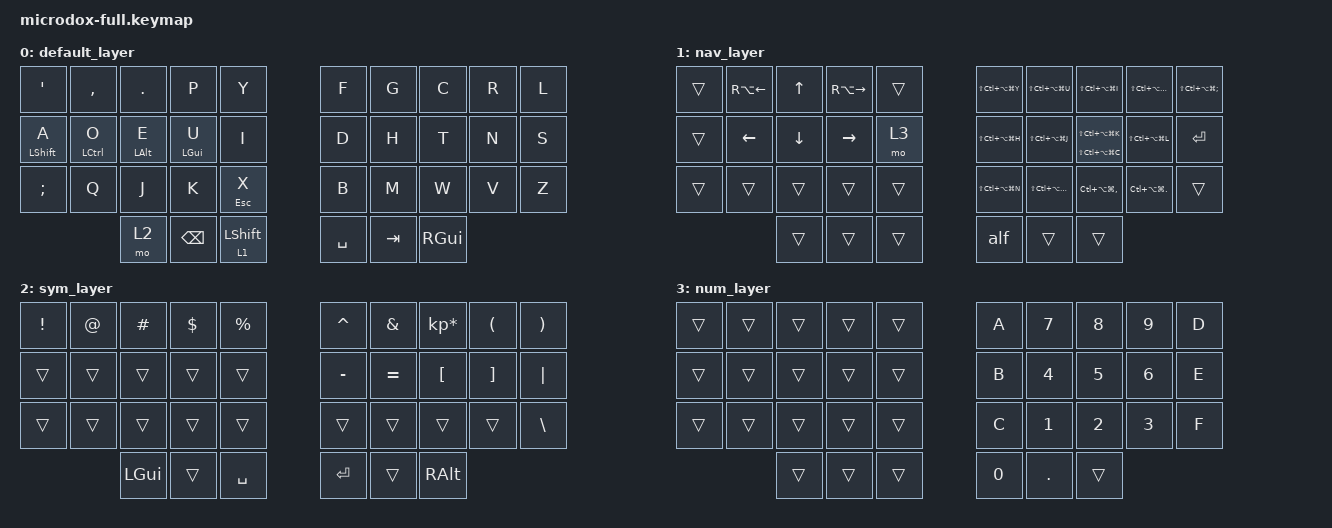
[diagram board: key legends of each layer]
/*
 * Copyright (c) 2020 The ZMK Contributors
 *
 * SPDX-License-Identifier: MIT
 */

#include <behaviors.dtsi>
#include <dt-bindings/zmk/keys.h>
#include <dt-bindings/zmk/bt.h>

&mt {
    tapping-term-ms = <200>;
};

/ {
    behaviors {
        bhm: balanced_homerow_mods {
            compatible = "zmk,behavior-hold-tap";
            label = "HOMEROW_MODS";
            #binding-cells = <2>;
            tapping-term-ms = <200>;    // <---[[moderate duration]]
            quick-tap-ms = <0>;
            flavor = "hold-preferred";
            bindings = <&kp>, <&kp>;
        };

        phr: positional_hold_right {
            compatible = "zmk,behavior-hold-tap";
            label = "POSITIONAL_HOLD_RIGHT";
            #binding-cells = <2>;
            flavor = "balanced";
            tapping-term-ms = <150>;
            quick-tap-ms = <120>;
            bindings = <&kp>, <&kp>;
            hold-trigger-key-positions = <10>, <11>, <12>, <13>, <14>;    // <---[[the W key]]
        };

        phl: positional_hold_left {
            compatible = "zmk,behavior-hold-tap";
            label = "POSITIONAL_HOLD_LEFT";
            #binding-cells = <2>;
            flavor = "balanced";
            tapping-term-ms = <150>;
            quick-tap-ms = <120>;
            bindings = <&kp>, <&kp>;
            hold-trigger-key-positions = <15>, <16>, <17>, <18>, <19>;    // <---[[the W key]]
        };
        
    };

    macros {

        alf: alf {
            label = "alf";
            compatible = "zmk,behavior-macro";
            #binding-cells = <0>;
            bindings
                = <&macro_press &kp LGUI>
                , <&macro_tap &kp SPACE>
                , <&macro_release &kp LGUI>
                ;
        };

        lst: layer_sticky_tap {
            compatible = "zmk,behavior-hold-tap";
            label = "LAYER_STICKY_TAP";
            #binding-cells = <2>;
            tapping-term-ms = <175>;
            quick_tap_ms = <0>;
            flavor = "tap-preferred";
            bindings = <&mo>, <&sk>;
        };

        ght: generic_hold-tap {
            compatible = "zmk,behavior-hold-tap";
            label = "GENERIC_HOLD_TAP";
            #binding-cells = <2>;
            tapping-term-ms = <120>;
            quick_tap_ms = <0>;
            flavor = "tap-preferred";
            bindings = <&kp>, <&kp>;
        };

    };

        keymap {
                compatible = "zmk,keymap";
                default_layer {
// 0-----------------------------------------------------------------------------------------
// |  '  |  ,  |  .  |  p  |  y   |          |  f  |  g   |  c  |  r  |  l  |
// |  a  |  o  |  e  |  u  |  i   |          |  d  |  h   |  t  |  n  |  s  |
// |  ;  |  q  |  j  |  k  |  x   |          |  b  |  m   |  w  |  v  |  z  |
//             | GUI | NAV | SHFT |          | SPC | SYM  | ALT |

//    &phl LSHFT A &phl LCTRL O    &phl LALT E     &phl LGUI U     &kp I        &kp D   &phr RGUI H     &phr RALT T     &phr RCTRL N    &phr RSHFT S

                        bindings = <
   &kp SQT      &kp COMMA       &kp DOT         &kp P           &kp Y        &kp F   &kp G           &kp C           &kp R           &kp L
   &phl LSHFT A &phl LCTRL O    &phl LALT E     &phl LGUI U     &kp I        &kp D   &kp H     &kp T     &kp N    &kp S
   &kp SEMI     &kp Q           &kp J           &kp K           &ght ESC X   &kp B   &kp M           &kp W           &kp V           &kp Z
   &mo 2        &kp BSPC        &lst 1 LSHFT                                                         &kp SPACE       &kp TAB         &kp RGUI
                        >;
                };

                nav_layer {
// 1-----------------------------------------------------------------------------------------
// |BTCLR|     | ESC |  ~   |     |          | TAB | HOME |  UP  | END | DEL  |
// | BT1 | GUI | ALT | CTRL | NUM |          |  /  | LEFT | DOWN | RGT | BKSP |
// | BT2 |     |     |      |     |          |  \  | ENT  |      |     |      |
//             |     |      |     |          |     |      |      |
                        bindings = <
   &trans   &kp RA(LEFT)        &kp UP          &kp RA(RIGHT)   &trans        &kp LS(LC(LA(LG(Y))))   &kp LS(LC(LA(LG(U))))        &kp  LS(LC(LA(LG(I))))                   &kp LS(LC(LA(LG(O))))   &kp LS(LC(LA(LG(SEMI))))
   &trans   &kp LEFT            &kp DOWN        &kp RIGHT       &mo 3         &kp LS(LC(LA(LG(H))))   &kp LS(LC(LA(LG(J))))        &ght LS(LC(LA(LG(C)))) LS(LC(LA(LG(K)))) &kp LS(LC(LA(LG(L))))   &kp RET
   &trans   &trans              &trans          &trans          &trans        &kp LS(LC(LA(LG(N))))   &kp LS(LC(LA(LG(M))))        &kp  LC(LA(LG(COMMA)))                   &kp LC(LA(LG(DOT)))     &trans
                                &trans          &trans          &trans        &alf                    &trans                       &trans
                        >;
                };

                sym_layer {
// 2-----------------------------------------------------------------------------------------
// |  !  |  @  |  #  |  $  |  %  |          |  ^  |  &  |  *  |  (  |  )  |
// |     |     |     |     |     |          |  -  |  =  |  {  |  }  | "|" |
// |     |     |     |     |     |          |  _  |  +  |  [  |  ]  |  \  |
//             | GUI |     | SPC |          | ENT |     | ALT |
                        bindings = <
   &kp EXCL  &kp AT    &kp HASH  &kp DLLR  &kp PRCNT   &kp CARET &kp AMPS  &kp KP_MULTIPLY &kp LPAR &kp RPAR
   &trans    &trans    &trans    &trans    &trans      &kp MINUS &kp EQUAL &kp LBKT        &kp RBKT &kp PIPE
   &trans    &trans    &trans    &trans    &trans      &trans    &trans    &trans          &trans   &kp BSLH
                       &kp LGUI  &trans    &kp SPACE   &kp RET   &trans    &kp RALT
                        >;
                };

// This layer is unreachable until "tri layer state" is sorted out.
// Leaving it here for completeness.
                num_layer {
// 3-----------------------------------------------------------------------------------------
// |     |     |     |     |     |          |  A  |  7  |  8  |  9  |  D  |
// |     |     |     |     |     |          |  B  |  4  |  5  |  6  |  E  |
// |     |     |     |     |     |          |  C  |  1  |  2  |  3  |  F  |
//             |     |     |     |          |  0  |  .  |     |
                        bindings = <
   &trans &trans &trans &trans &trans    &kp A  &kp N7  &kp N8 &kp N9 &kp D
   &trans &trans &trans &trans &trans    &kp B  &kp N4  &kp N5 &kp N6 &kp E
   &trans &trans &trans &trans &trans    &kp C  &kp N1  &kp N2 &kp N3 &kp F
                 &trans &trans &trans    &kp N0 &kp DOT &trans
                        >;
                };
        };
};
